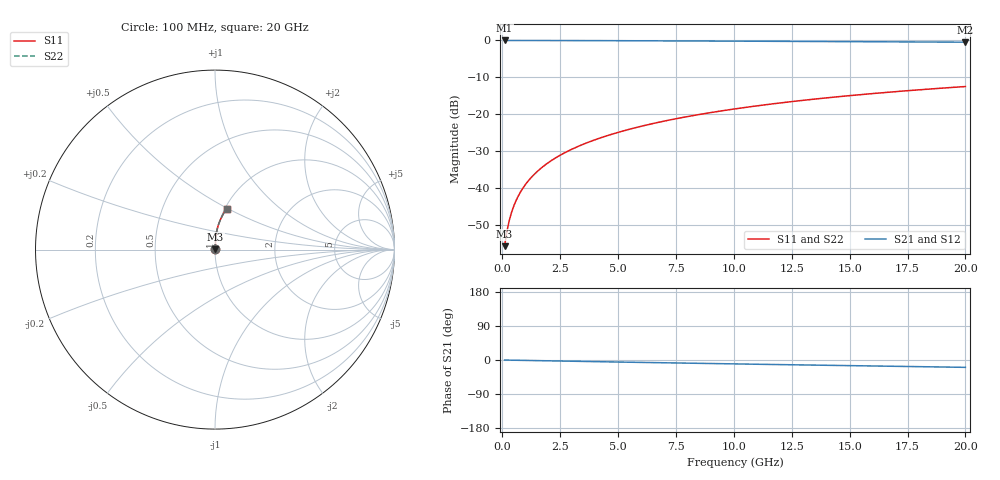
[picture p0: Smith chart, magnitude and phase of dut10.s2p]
! Touchstone file exported from HFSS 2024.1.0
!  File:  C:/UserFiles/LocalFiles/RDL_TSV_Batchsim/temp_RDL_top_10_1778679790.aedt
!  Generated:  09:45:41 PM May 13, 2026
!  Design:  RDL_top
!  Project:  temp_RDL_top_10_1778679790
!  Setup:  Setup1
!  Solution:  Sweep
! Variables:
!  dtsv = 10.80580581um
!  hbump = 3um
!  htsv = 63.95um
!  ldown = 100um
!  lrdl = 209.59um
!  p = 40
!  p1 = 59.58um
!  rhole = 1um
!  t = 450um
!  tdown = 3.915915916um
!  trdl = 3.88um
!  wdown = 15.38538539um
!  wrdl = 19.37um
# GHz S MA R 50.000000
! Terminal data exported
! Port[1] = Box2_T1
! Port[2] = Box2_T2
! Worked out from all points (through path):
!   200 points, 100 MHz to 20 GHz, reference 50 ohm
!   highest |S21| = -0.01 dB at 100 MHz (marker M1); lowest = -0.5 dB at 20 GHz (marker M2)
!   group delay of S21, straight-line fit = 2.67 ps
!   lowest |S11| = -55.6 dB at 100 MHz (marker M3), VSWR 1.00, Z = 50.1 + j0.118 ohm
!   |S11| at or under -10 dB: start of sweep to end of sweep
!   |S22| runs from -55.6 to -12.5 dB; largest |S21 - S12| = 4.7e-15
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0.1  0.001655 45.1  0.9988 -0.1  0.9988 -0.1  0.001655 45.1
! Gamma 0 0 0 0
! Port Impedance 50 0 50 0
0.2  0.00262 62.5  0.9988 -0.2  0.9988 -0.2  0.00262 62.5
0.3  0.003671 70.1  0.9987 -0.3  0.9987 -0.3  0.003671 70.1
0.4  0.004742 74.2  0.9987 -0.4  0.9987 -0.4  0.004742 74.2
0.5  0.005821 76.9  0.9986 -0.6  0.9986 -0.6  0.005821 76.9
0.7  0.007994 80.2  0.9985 -0.8  0.9985 -0.8  0.007994 80.2
0.8  0.009088 81.3  0.9984 -0.9  0.9984 -0.9  0.009087 81.3
1  0.01129 82.9  0.9983 -1.1  0.9983 -1.1  0.01129 82.9
1.2  0.0135 84.0  0.9981 -1.3  0.9981 -1.3  0.0135 84.0
1.4  0.01572 84.8  0.9979 -1.5  0.9979 -1.5  0.01572 84.8
1.7  0.01906 85.6  0.9976 -1.9  0.9976 -1.9  0.01906 85.6
2  0.02243 86.1  0.9973 -2.2  0.9973 -2.2  0.02243 86.1
2.7  0.03035 86.9  0.9963 -3.0  0.9963 -3.0  0.03035 86.9
3.5  0.03954 87.2  0.9948 -3.8  0.9948 -3.8  0.03954 87.2
4.2  0.04769 87.2  0.9933 -4.5  0.9933 -4.5  0.04769 87.2
5  0.05714 87.1  0.9915 -5.4  0.9915 -5.4  0.05714 87.1
6.8  0.07882 86.2  0.9868 -7.2  0.9868 -7.2  0.07882 86.2
8.4  0.09844 85.1  0.9824 -8.7  0.9824 -8.7  0.09844 85.1
10.1  0.1194 83.6  0.9776 -10.4  0.9776 -10.4  0.1194 83.6
13.4  0.16 80.5  0.9679 -13.4  0.9679 -13.4  0.16 80.5
16.7  0.1997 77.3  0.9576 -16.4  0.9576 -16.4  0.1997 77.3
20  0.2381 74.1  0.9467 -19.4  0.9467 -19.4  0.2381 74.1
